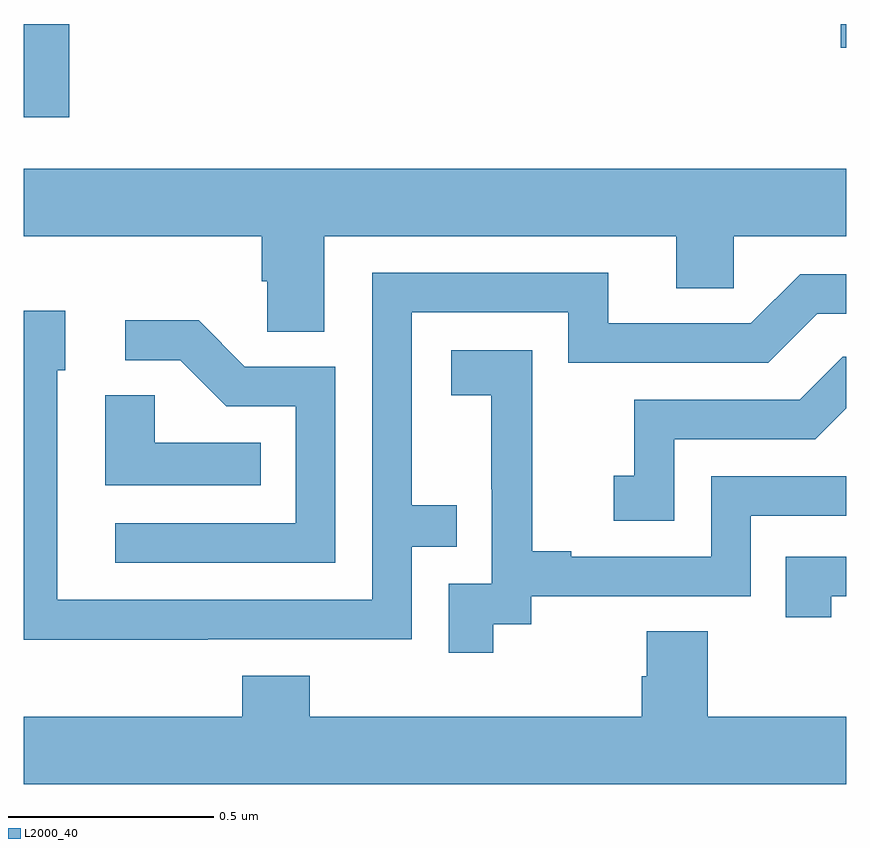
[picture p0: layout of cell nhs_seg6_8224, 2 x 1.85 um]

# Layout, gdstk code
import gdstk
lib = gdstk.Library(unit=1e-6, precision=1e-09)
def R(c, l, rs):  # rectangles x0, y0, x1, y1
    for r in rs: c.add(gdstk.rectangle(r[:2], r[2:], *l))
def P(c, l, *ps):  # polygons
    for p in ps: c.add(gdstk.Polygon(p, *l))
L2000_40 = (2000, 40)

nhs_seg6_8224 = lib.new_cell('nhs_seg6_8224')
R(nhs_seg6_8224, L2000_40, [(218,966.273,218.111,966.5), (219.987,966.442,220,966.5)])
P(nhs_seg6_8224, L2000_40, [(218.731,965.984),(219.587,965.984),(219.587,965.857),(219.726,965.857),(219.726,965.984),(220,965.984),(220,966.148),(218,966.148),(218,965.984),(218.579,965.984),(218.579,965.875),(218.592,965.875),(218.592,965.752),(218.731,965.752)],
  [(218.447,965.004),(218.943,965.004),(218.943,965.229),(219.053,965.229),(219.053,965.33),(218.943,965.33),(218.943,965.799),(219.324,965.799),(219.324,965.676),(219.81,965.676),(219.93,965.796),(220,965.796),(220,965.892),(219.888,965.892),(219.768,965.772),(219.421,965.772),(219.421,965.895),(218.847,965.895),(218.847,965.1),(218.082,965.1),(218.082,965.658),(218.101,965.658),(218.101,965.803),(218,965.803),(218,965.003),(218.447,965.003)],
  [(218.757,965.667),(218.538,965.667),(218.425,965.78),(218.247,965.78),(218.247,965.682),(218.381,965.682),(218.492,965.571),(218.661,965.571),(218.661,965.286),(218.223,965.286),(218.223,965.19),(218.757,965.19)],
  [(219.142,965.041),(219.234,965.041),(219.234,965.109),(219.768,965.109),(219.768,965.304),(220,965.304),(220,965.4),(219.672,965.4),(219.672,965.205),(219.331,965.205),(219.331,965.218),(219.236,965.218),(219.236,965.501),(219.237,965.501),(219.237,965.707),(219.039,965.707),(219.039,965.597),(219.137,965.597),(219.137,965.369),(219.138,965.369),(219.138,965.139),(219.033,965.139),(219.033,964.971),(219.142,964.971)],
  [(219.582,965.49),(219.924,965.49),(220,965.566),(220,965.691),(219.992,965.691),(219.887,965.586),(219.484,965.586),(219.484,965.401),(219.435,965.401),(219.435,965.292),(219.582,965.292)],
  [(218.576,965.482),(218.319,965.482),(218.319,965.597),(218.198,965.597),(218.198,965.378),(218.576,965.378)],
  [(219.964,965.109),(220,965.109),(220,965.205),(219.853,965.205),(219.853,965.058),(219.964,965.058)],
  [(220,964.816),(219.663,964.816),(219.663,965.024),(219.515,965.024),(219.515,964.914),(219.503,964.914),(219.503,964.816),(218.696,964.816),(218.696,964.915),(218.531,964.915),(218.531,964.816),(218,964.816),(218,964.652),(220,964.652)])

lib.write_gds('nhs_seg6_8224.gds')
